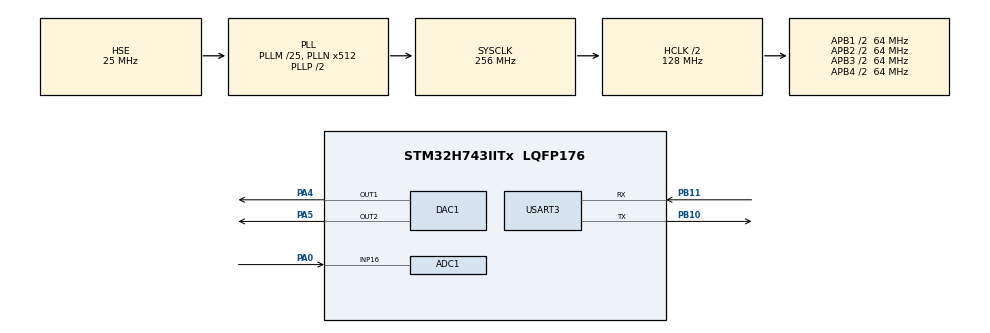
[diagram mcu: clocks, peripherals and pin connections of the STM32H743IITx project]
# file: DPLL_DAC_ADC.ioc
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ADC1.Channel-0\#ChannelRegularConversion=ADC_CHANNEL_16
ADC1.ConversionDataManagement=ADC_CONVERSIONDATA_DMA_CIRCULAR
ADC1.ExternalTrigConv=ADC_EXTERNALTRIG_T4_TRGO
ADC1.NbrOfConversionFlag=1
ADC1.OffsetNumber-0\#ChannelRegularConversion=ADC_OFFSET_NONE
ADC1.OffsetSignedSaturation-0\#ChannelRegularConversion=DISABLE
ADC1.Rank-0\#ChannelRegularConversion=1
ADC1.SamplingTime-0\#ChannelRegularConversion=ADC_SAMPLETIME_1CYCLE_5
ADC1.master=1
DAC1.DAC1_OutputBuffer-DAC_OUT1=DAC_OUTPUTBUFFER_DISABLE
DAC1.DAC2_OutputBuffer-DAC_OUT2=DAC_OUTPUTBUFFER_DISABLE
DAC1.DAC_Channel-DAC_OUT1=DAC_CHANNEL_1
DAC1.DAC_Channel-DAC_OUT2=DAC_CHANNEL_2
DAC1.DAC_Trigger-DAC_OUT1=DAC_TRIGGER_T4_TRGO
DAC1.DAC_Trigger-DAC_OUT2=DAC_TRIGGER_T4_TRGO
Dma.ADC1.0.Direction=DMA_PERIPH_TO_MEMORY
Dma.ADC1.0.EventEnable=DISABLE
Dma.ADC1.0.FIFOMode=DMA_FIFOMODE_DISABLE
Dma.ADC1.0.Instance=DMA1_Stream0
Dma.ADC1.0.MemDataAlignment=DMA_MDATAALIGN_HALFWORD
Dma.ADC1.0.MemInc=DMA_MINC_ENABLE
Dma.ADC1.0.Mode=DMA_CIRCULAR
Dma.ADC1.0.PeriphDataAlignment=DMA_PDATAALIGN_HALFWORD
Dma.ADC1.0.PeriphInc=DMA_PINC_DISABLE
Dma.ADC1.0.Polarity=HAL_DMAMUX_REQ_GEN_RISING
Dma.ADC1.0.Priority=DMA_PRIORITY_LOW
Dma.ADC1.0.RequestNumber=1
Dma.ADC1.0.SignalID=NONE
Dma.ADC1.0.SyncEnable=DISABLE
Dma.ADC1.0.SyncPolarity=HAL_DMAMUX_SYNC_NO_EVENT
Dma.ADC1.0.SyncRequestNumber=1
Dma.ADC1.0.SyncSignalID=NONE
Dma.DAC1_CH1.1.Direction=DMA_MEMORY_TO_PERIPH
Dma.DAC1_CH1.1.EventEnable=DISABLE
Dma.DAC1_CH1.1.FIFOMode=DMA_FIFOMODE_DISABLE
Dma.DAC1_CH1.1.Instance=DMA1_Stream1
Dma.DAC1_CH1.1.MemDataAlignment=DMA_MDATAALIGN_HALFWORD
Dma.DAC1_CH1.1.MemInc=DMA_MINC_ENABLE
Dma.DAC1_CH1.1.Mode=DMA_CIRCULAR
Dma.DAC1_CH1.1.PeriphDataAlignment=DMA_PDATAALIGN_HALFWORD
Dma.DAC1_CH1.1.PeriphInc=DMA_PINC_DISABLE
Dma.DAC1_CH1.1.Polarity=HAL_DMAMUX_REQ_GEN_RISING
Dma.DAC1_CH1.1.Priority=DMA_PRIORITY_LOW
Dma.DAC1_CH1.1.RequestNumber=1
Dma.DAC1_CH1.1.SignalID=NONE
Dma.DAC1_CH1.1.SyncEnable=DISABLE
Dma.DAC1_CH1.1.SyncPolarity=HAL_DMAMUX_SYNC_NO_EVENT
Dma.DAC1_CH1.1.SyncRequestNumber=1
Dma.DAC1_CH1.1.SyncSignalID=NONE
Dma.DAC1_CH2.2.Direction=DMA_MEMORY_TO_PERIPH
Dma.DAC1_CH2.2.EventEnable=DISABLE
Dma.DAC1_CH2.2.FIFOMode=DMA_FIFOMODE_DISABLE
Dma.DAC1_CH2.2.Instance=DMA2_Stream1
Dma.DAC1_CH2.2.MemDataAlignment=DMA_MDATAALIGN_HALFWORD
Dma.DAC1_CH2.2.MemInc=DMA_MINC_ENABLE
Dma.DAC1_CH2.2.Mode=DMA_CIRCULAR
Dma.DAC1_CH2.2.PeriphDataAlignment=DMA_PDATAALIGN_HALFWORD
Dma.DAC1_CH2.2.PeriphInc=DMA_PINC_DISABLE
Dma.DAC1_CH2.2.Polarity=HAL_DMAMUX_REQ_GEN_RISING
Dma.DAC1_CH2.2.Priority=DMA_PRIORITY_LOW
Dma.DAC1_CH2.2.RequestNumber=1
Dma.DAC1_CH2.2.SignalID=NONE
Dma.DAC1_CH2.2.SyncEnable=DISABLE
Dma.DAC1_CH2.2.SyncPolarity=HAL_DMAMUX_SYNC_NO_EVENT
Dma.DAC1_CH2.2.SyncRequestNumber=1
Dma.DAC1_CH2.2.SyncSignalID=NONE
Dma.Request0=ADC1
Dma.Request1=DAC1_CH1
Dma.Request2=DAC1_CH2
Dma.Request3=USART3_RX
Dma.USART3_RX.3.Direction=DMA_PERIPH_TO_MEMORY
Dma.USART3_RX.3.EventEnable=DISABLE
Dma.USART3_RX.3.FIFOMode=DMA_FIFOMODE_DISABLE
Dma.USART3_RX.3.Instance=DMA1_Stream2
Dma.USART3_RX.3.MemDataAlignment=DMA_MDATAALIGN_BYTE
Dma.USART3_RX.3.MemInc=DMA_MINC_ENABLE
Dma.USART3_RX.3.Mode=DMA_NORMAL
Dma.USART3_RX.3.PeriphDataAlignment=DMA_PDATAALIGN_BYTE
Dma.USART3_RX.3.PeriphInc=DMA_PINC_DISABLE
Dma.USART3_RX.3.Polarity=HAL_DMAMUX_REQ_GEN_RISING
Dma.USART3_RX.3.Priority=DMA_PRIORITY_LOW
Dma.USART3_RX.3.RequestNumber=1
Dma.USART3_RX.3.SignalID=NONE
Dma.USART3_RX.3.SyncEnable=DISABLE
Dma.USART3_RX.3.SyncPolarity=HAL_DMAMUX_SYNC_NO_EVENT
Dma.USART3_RX.3.SyncRequestNumber=1
Dma.USART3_RX.3.SyncSignalID=NONE
Mcu.Family=STM32H7
Mcu.Name=STM32H743IITx
Mcu.Package=LQFP176
NVIC.DMA1_Stream0_IRQn=true\:1\:0\:true\:false\:true\:false\:true\:true
NVIC.DMA1_Stream1_IRQn=true\:1\:0\:true\:false\:true\:false\:true\:true
NVIC.DMA1_Stream2_IRQn=true\:0\:0\:false\:false\:true\:false\:true\:true
NVIC.DMA2_Stream1_IRQn=true\:1\:0\:true\:false\:true\:false\:true\:true
NVIC.PriorityGroup=NVIC_PRIORITYGROUP_4
NVIC.USART3_IRQn=true\:0\:0\:false\:false\:true\:true\:true\:true
PA0.Mode=IN16-Single-Ended
PA0.Signal=ADC1_INP16
PA13\ (JTMS/SWDIO).Mode=Serial_Wire
PA13\ (JTMS/SWDIO).Signal=DEBUG_JTMS-SWDIO
PA14\ (JTCK/SWCLK).Mode=Serial_Wire
PA14\ (JTCK/SWCLK).Signal=DEBUG_JTCK-SWCLK
PA2.Signal=ADCx_INP14
PA4.Signal=COMP_DAC11_group
PA5.Signal=COMP_DAC12_group
PB10.Mode=Asynchronous
PB10.Signal=USART3_TX
PB11.Mode=Asynchronous
PB11.Signal=USART3_RX
PC14-OSC32_IN\ (OSC32_IN).Mode=LSE-External-Oscillator
PC14-OSC32_IN\ (OSC32_IN).Signal=RCC_OSC32_IN
PC15-OSC32_OUT\ (OSC32_OUT).Mode=LSE-External-Oscillator
PC15-OSC32_OUT\ (OSC32_OUT).Signal=RCC_OSC32_OUT
PH0-OSC_IN\ (PH0).Mode=HSE-External-Oscillator
PH0-OSC_IN\ (PH0).Signal=RCC_OSC_IN
PH1-OSC_OUT\ (PH1).Mode=HSE-External-Oscillator
PH1-OSC_OUT\ (PH1).Signal=RCC_OSC_OUT
ProjectManager.HeapSize=0x200
ProjectManager.StackSize=0x400
ProjectManager.TargetToolchain=MDK-ARM V5.32
RCC.ADCFreq_Value=75000000
RCC.APB1Freq_Value=64000000
RCC.APB2Freq_Value=64000000
RCC.APB3Freq_Value=64000000
RCC.APB4Freq_Value=64000000
RCC.CortexFreq_Value=256000000
RCC.D1PPRE=RCC_APB3_DIV2
RCC.D2PPRE1=RCC_APB1_DIV2
RCC.D2PPRE2=RCC_APB2_DIV2
RCC.D3PPRE=RCC_APB4_DIV2
RCC.DIVM1=25
RCC.DIVM2=2
RCC.DIVN1=512
RCC.DIVN2=12
RCC.HCLKFreq_Value=128000000
RCC.HPRE=RCC_HCLK_DIV2
RCC.PLL2FRACN=0
RCC.PLL2_VCI_Range=RCC_PLL2VCIRANGE_3
RCC.PLL3FRACN=0
RCC.PLLFRACN=0
RCC.PLLSourceVirtual=RCC_PLLSOURCE_HSE
RCC.SYSCLKFreq_VALUE=256000000
RCC.SYSCLKSource=RCC_SYSCLKSOURCE_PLLCLK
RCC.USBFreq_Value=256000000
SH.ADCx_INP14.0=ADC2_INP14
SH.COMP_DAC11_group.0=DAC1_OUT1,DAC_OUT1
SH.COMP_DAC12_group.0=DAC1_OUT2,DAC_OUT2
TIM4.Period=125-1
TIM4.TIM_MasterOutputTrigger=TIM_TRGO_UPDATE
USART3.VirtualMode-Asynchronous=VM_ASYNC
VP_MEMORYMAP_VS_MEMORYMAP.Mode=CurAppReg
VP_TIM4_VS_ClockSourceINT.Mode=Internal
board=custom

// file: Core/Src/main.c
/* USER CODE BEGIN Header */
  /**
    ******************************************************************************
    * @file           : main.c
    * @brief          : Main program body
    ******************************************************************************
    * @attention
    *
    * Copyright (c) 2025 STMicroelectronics.
    * All rights reserved.
    *
    * This software is licensed under terms that can be found in the LICENSE file
    * in the root directory of this software component.
    * If no LICENSE file comes with this software, it is provided AS-IS.
    *
    ******************************************************************************
    */
/* USER CODE END Header */
#include "main.h"
#include "adc.h"
#include "dac.h"
#include "dma.h"
#include "memorymap.h"
#include "tim.h"
#include "usart.h"
#include "gpio.h"

/* USER CODE BEGIN Includes */
  #include "MyFunction.h"
  #include "stdio.h"
/* USER CODE END Includes */

void SystemClock_Config(void);

/* USER CODE BEGIN 0 */

volatile uint8_t ADC_ConvEnd = 0;
volatile uint8_t First_ADC = 1;

  //数组
extern uint16_t ADC_Buffer[ADC_LEN];
extern float FFT_Data1[FFT_LEN * 2];
extern float FFT_Data2[FFT_LEN * 2];
extern uint16_t DAC_Buffer1[DAC_LEN];
extern uint16_t DAC_Buffer2[DAC_LEN];
Signal Wave[2];
uint8_t target_d_angle = 0;//目标角度差(0~180度)

#define maxlen 20
uint8_t rx_buffer[maxlen]={0}; // 接收缓冲区
uint8_t rx_flag = 0; // 接收标志位

#define BUFFER_SIZE 1024
uint16_t* CurrADC_Buffer = NULL;
uint16_t* NextADC_Buffer = NULL;
uint16_t* CurrDAC_Buffer1 = NULL;
uint16_t* NextDAC_Buffer1 = NULL;
uint16_t* CurrDAC_Buffer2 = NULL;
uint16_t* NextDAC_Buffer2 = NULL;

volatile uint8_t buffer_in_use = 0;
void setup_buffers(void) {
    CurrADC_Buffer = ADC_Buffer;
    CurrDAC_Buffer1 = DAC_Buffer1;
    CurrDAC_Buffer2 = DAC_Buffer2;
    NextADC_Buffer = ADC_Buffer + BUFFER_SIZE;
    NextDAC_Buffer1 = DAC_Buffer1 + BUFFER_SIZE;
    NextDAC_Buffer2 = DAC_Buffer2 + BUFFER_SIZE;
    buffer_in_use = 1;
}
void swap_buffers(void) {
    CurrADC_Buffer = NextADC_Buffer;
    CurrDAC_Buffer1 = NextDAC_Buffer1;
    CurrDAC_Buffer2 = NextDAC_Buffer2;
    NextADC_Buffer = (buffer_in_use == 0) ? ADC_Buffer : ADC_Buffer + BUFFER_SIZE;
    NextDAC_Buffer1 = (buffer_in_use == 0) ? DAC_Buffer1 : DAC_Buffer1 + BUFFER_SIZE;
    NextDAC_Buffer2 = (buffer_in_use == 0) ? DAC_Buffer2 : DAC_Buffer2 + BUFFER_SIZE;
    buffer_in_use = !buffer_in_use;
}

//float p[2];
/* USER CODE END 0 */

int main(void)
{

  /* MCU Configuration--------------------------------------------------------*/

  /* Reset of all peripherals, Initializes the Flash interface and the Systick. */
  HAL_Init();

  /* Configure the system clock */
  SystemClock_Config();

  /* Initialize all configured peripherals */
  MX_GPIO_Init();
  MX_DMA_Init();
  MX_ADC1_Init();
  MX_DAC1_Init();
  MX_TIM4_Init();
  MX_USART3_UART_Init();
  /* USER CODE BEGIN 2 */
    setup_buffers();
    HAL_ADCEx_Calibration_Start(&hadc1,ADC_CALIB_OFFSET, ADC_SINGLE_ENDED);
		HAL_ADC_Start_DMA(&hadc1, (uint32_t*)ADC_Buffer, ADC_LEN);
    HAL_DAC_Start_DMA(&hdac1, DAC_CHANNEL_1, (uint32_t*)DAC_Buffer1, DAC_LEN, DAC_ALIGN_12B_R);
    HAL_DAC_Start_DMA(&hdac1, DAC_CHANNEL_2, (uint32_t*)DAC_Buffer2, DAC_LEN, DAC_ALIGN_12B_R);
		HAL_TIM_Base_Start(&htim4);
    HAL_UARTEx_ReceiveToIdle_DMA(&huart3, rx_buffer, maxlen); // 开启一次中断接收

  /* USER CODE END 2 */

  /* Infinite loop */
  /* USER CODE BEGIN WHILE */
    while (1)
    {
      if(ADC_ConvEnd)
      {
        ADC_ConvEnd = 0;
        FFT_Process(CurrADC_Buffer);
        // if(First_ADC){
        //   First_ADC = 0;
          Find_2BaseIndex();
          Detect_WaveType();
        // }
				/*
				for(int i = 0;i<2;i++)
				{
					p[i] = GetPhase(Wave[i].BaseIdx);
				}
				*/
        ProcessFFTData(0,0);
        IFFT_Process(FFT_Data1, CurrDAC_Buffer1);
				ProcessFFTData(1,target_d_angle);
        IFFT_Process(FFT_Data2, CurrDAC_Buffer2);
        memset(CurrADC_Buffer, 0, BUFFER_SIZE * sizeof(uint16_t));
        swap_buffers();
      }

    /* USER CODE END WHILE */

    }
}

void SystemClock_Config(void)
{
  RCC_OscInitTypeDef RCC_OscInitStruct = {0};
  RCC_ClkInitTypeDef RCC_ClkInitStruct = {0};

  /** Supply configuration update enable
  */
  HAL_PWREx_ConfigSupply(PWR_LDO_SUPPLY);

  /** Configure the main internal regulator output voltage
  */
  __HAL_PWR_VOLTAGESCALING_CONFIG(PWR_REGULATOR_VOLTAGE_SCALE2);

  while(!__HAL_PWR_GET_FLAG(PWR_FLAG_VOSRDY)) {}

  /** Initializes the RCC Oscillators according to the specified parameters
  * in the RCC_OscInitTypeDef structure.
  */
  RCC_OscInitStruct.OscillatorType = RCC_OSCILLATORTYPE_HSE;
  RCC_OscInitStruct.HSEState = RCC_HSE_ON;
  RCC_OscInitStruct.PLL.PLLState = RCC_PLL_ON;
  RCC_OscInitStruct.PLL.PLLSource = RCC_PLLSOURCE_HSE;
  RCC_OscInitStruct.PLL.PLLM = 25;
  RCC_OscInitStruct.PLL.PLLN = 512;
  RCC_OscInitStruct.PLL.PLLP = 2;
  RCC_OscInitStruct.PLL.PLLQ = 2;
  RCC_OscInitStruct.PLL.PLLR = 2;
  RCC_OscInitStruct.PLL.PLLRGE = RCC_PLL1VCIRANGE_0;
  RCC_OscInitStruct.PLL.PLLVCOSEL = RCC_PLL1VCOWIDE;
  RCC_OscInitStruct.PLL.PLLFRACN = 0;
  if (HAL_RCC_OscConfig(&RCC_OscInitStruct) != HAL_OK)
  {
    Error_Handler();
  }

  /** Initializes the CPU, AHB and APB buses clocks
  */
  RCC_ClkInitStruct.ClockType = RCC_CLOCKTYPE_HCLK|RCC_CLOCKTYPE_SYSCLK
                              |RCC_CLOCKTYPE_PCLK1|RCC_CLOCKTYPE_PCLK2
                              |RCC_CLOCKTYPE_D3PCLK1|RCC_CLOCKTYPE_D1PCLK1;
  RCC_ClkInitStruct.SYSCLKSource = RCC_SYSCLKSOURCE_PLLCLK;
  RCC_ClkInitStruct.SYSCLKDivider = RCC_SYSCLK_DIV1;
  RCC_ClkInitStruct.AHBCLKDivider = RCC_HCLK_DIV2;
  RCC_ClkInitStruct.APB3CLKDivider = RCC_APB3_DIV2;
  RCC_ClkInitStruct.APB1CLKDivider = RCC_APB1_DIV2;
  RCC_ClkInitStruct.APB2CLKDivider = RCC_APB2_DIV2;
  RCC_ClkInitStruct.APB4CLKDivider = RCC_APB4_DIV2;

  if (HAL_RCC_ClockConfig(&RCC_ClkInitStruct, FLASH_LATENCY_2) != HAL_OK)
  {
    Error_Handler();
  }
}

/* USER CODE BEGIN 4 */
void HAL_ADC_ConvHalfCpltCallback(ADC_HandleTypeDef *hadc)
{
  ADC_ConvEnd = 1;
}

void HAL_ADC_ConvCpltCallback(ADC_HandleTypeDef *hadc)
{
  ADC_ConvEnd = 1;
}
void HAL_UARTEx_RxEventCallback(UART_HandleTypeDef *huart, uint16_t Size) // 中断接收回调函数
{
  if (huart->Instance == USART3) // 判断串口
  {
    if(rx_buffer[0]==0x55)//静止修改
    {
      target_d_angle = rx_buffer[2];
    }
    HAL_UARTEx_ReceiveToIdle_DMA(&huart3, rx_buffer, maxlen); // 开启一次中断接收
  }
}

/* USER CODE END 4 */

void Error_Handler(void)
{
    __disable_irq();
    while (1)
    {
    }
}
